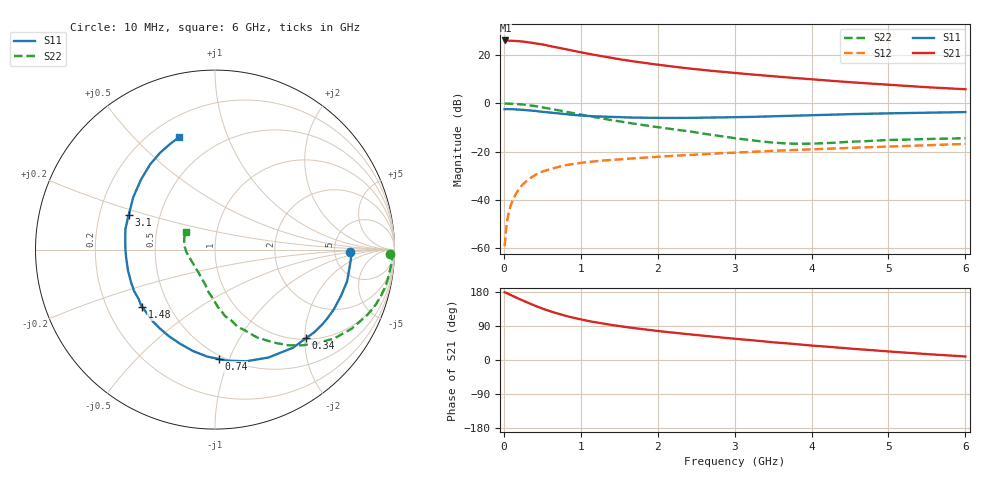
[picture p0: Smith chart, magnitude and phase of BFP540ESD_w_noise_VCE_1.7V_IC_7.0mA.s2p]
! Infineon Technologies  Discrete & RF Semiconductors
! BFP540ESD
! VCE =  1.7 V,  IC =  7.0 mA
! Common Emitter S-Parameters:  Nov 2015
# GHz  S  MA  R  50
!  f  S11  S21  S12  S22
! GHz  MAG  ANG  MAG  ANG  MAG  ANG  MAG  ANG
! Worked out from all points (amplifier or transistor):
!   210 points, 10 MHz to 6 GHz, reference 50 ohm
!   highest |S21| = 26.0 dB at 20 MHz (marker M1)
!   |S21| within 3 dB of that: start of sweep to 712.5 MHz
!   unconditionally stable (mu >= 1): 2.996 GHz to end of sweep
!   at 185 MHz: K = 0.07, MSG = 30.9 dB, |S12| = -36.0 dB
!   at 1.52 GHz: K = 0.61, MSG = 20.7 dB, |S12| = -23.2 dB
!   at 6 GHz: K = 1.19, MAG = 8.7 dB, |S12| = -16.8 dB
!   lowest NFmin = 0.76 dB at 900 MHz
!   S11 on the Smith chart (normalised r, x): 10 MHz: 7.03, -0.51; 340 MHz: 1.03, -2.03; 740 MHz: 0.47, -0.92; 1.48 GHz: 0.35, -0.31; 3.1 GHz: 0.33, +0.17; 6 GHz: 0.31, +0.69
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0.01  0.752 -1.2  20.02 178.8  0.0011 81.8  0.9765 -1.4
0.02  0.7597 -3.2  20.02 178.2  0.0016 86.0  0.9908 -1.5
0.065  0.7557 -8.7  19.88 173.8  0.0056 83.4  0.9846 -5.1
0.15  0.7479 -20.2  19.65 165.8  0.0127 82.8  0.9729 -11.8
0.26  0.7295 -34.3  18.87 155.6  0.0219 74.8  0.9402 -20.2
0.34  0.7079 -44.2  18.11 148.7  0.0278 70.8  0.905 -25.8
0.4  0.6983 -51.6  17.57 143.5  0.0322 67.9  0.8803 -30.0
0.5  0.6708 -63.7  16.56 135.6  0.0386 63.5  0.8283 -36.7
0.6  0.6459 -74.5  15.35 128.5  0.0431 59.2  0.7742 -42.3
0.74  0.6094 -88.1  13.87 120.2  0.0496 54.1  0.7019 -49.4
0.8  0.5973 -94.3  13.26 116.6  0.0523 52.2  0.6716 -52.5
0.9  0.5781 -102.3  12.26 111.6  0.0551 50.1  0.6259 -56.5
1.02  0.5562 -111.8  11.24 106.3  0.059 47.2  0.5747 -61.1
1.2  0.5363 -124.8  9.894 99.1  0.0633 43.6  0.5095 -67.1
1.48  0.5167 -141.6  8.297 90.1  0.0684 40.3  0.4277 -75.2
1.7  0.5065 -152.8  7.33 83.8  0.0726 38.5  0.3767 -81.1
2.02  0.4987 -166.6  6.243 76.0  0.0784 36.1  0.3187 -87.3
2.58  0.5038 173.5  4.917 64.2  0.0877 33.2  0.2372 -99.3
3.1  0.5182 158.0  4.112 54.4  0.0967 30.8  0.1811 -112.5
4.1  0.5722 134.6  3.054 36.7  0.1128 25.0  0.1478 -159.8
5.1  0.6235 118.2  2.367 21.1  0.1284 19.0  0.1751 168.9
6  0.6579 107.6  1.955 9.2  0.144 14.3  0.1897 148.2
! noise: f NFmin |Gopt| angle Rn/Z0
0.9  0.76  0.01  -71  0.11
1.8  0.97  0.09  177  0.11
2.4  0.98  0.11  174  0.1
3  1.11  0.19  -171  0.09
4  1.26  0.31  -120  0.15
5  1.48  0.43  -96  0.28
6  1.73  0.52  -98  0.43
